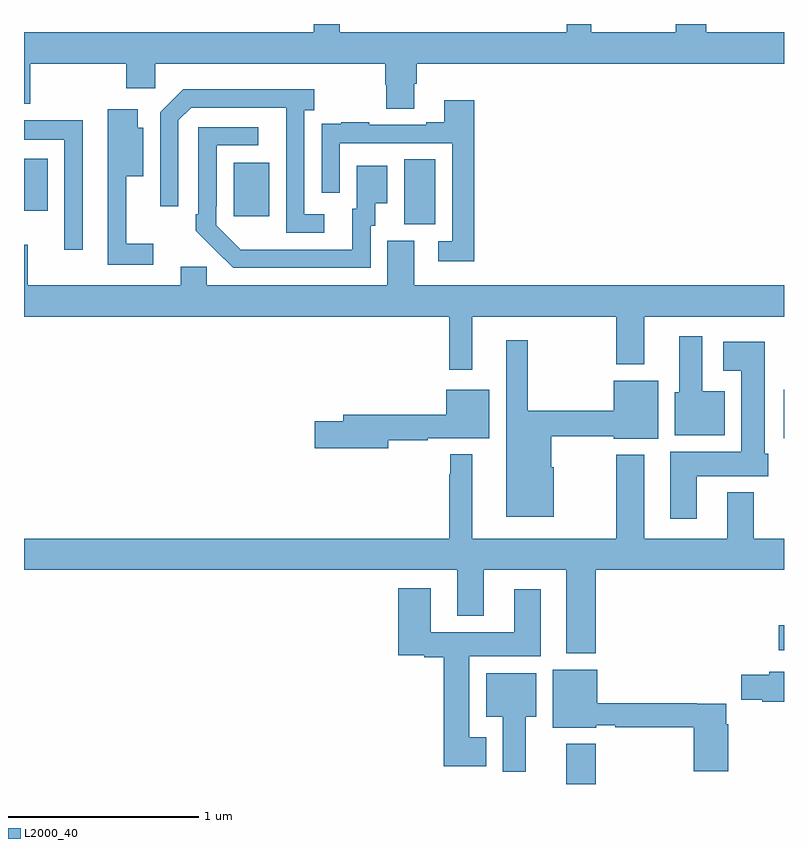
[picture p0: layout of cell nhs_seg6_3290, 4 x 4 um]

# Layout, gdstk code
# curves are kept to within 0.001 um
import gdstk
lib = gdstk.Library(unit=1e-6, precision=1e-09)
def R(c, l, rs):  # rectangles x0, y0, x1, y1
    for r in rs: c.add(gdstk.rectangle(r[:2], r[2:], *l))
def P(c, l, *ps):  # polygons
    for p in ps: c.add(gdstk.Polygon(p, *l))
L2000_40 = (2000, 40)

nhs_seg6_3290 = lib.new_cell('nhs_seg6_3290')
R(nhs_seg6_3290, L2000_40, [(305.855,987.5,306.008,987.712), (306.972,988.205,307,988.335), (306.998,989.321,307,989.575), (305,990.445,305.164,990.788), (304.103,990.489,304.291,990.769), (303,990.518,303.124,990.79)])
P(nhs_seg6_3290, L2000_40, [(305.053,991.186),(305.066,991.186),(305.066,991.292),(307,991.292),(307,991.456),(306.59,991.456),(306.59,991.5),(306.43,991.5),(306.43,991.456),(305.986,991.456),(305.986,991.5),(305.857,991.5),(305.857,991.456),(304.661,991.456),(304.661,991.5),(304.525,991.5),(304.525,991.456),(303,991.456),(303,991.079),(303.032,991.079),(303.032,991.292),(303.539,991.292),(303.539,991.161),(303.69,991.161),(303.69,991.292),(304.901,991.292),(304.901,991.179),(304.906,991.179),(304.906,991.054),(305.053,991.054)],
  [(304.579,990.498),(304.476,990.498),(304.476,991.046),(304.528,991.046),(304.528,991.156),(303.838,991.156),(303.717,991.035),(303.717,990.54),(303.813,990.54),(303.813,990.993),(303.879,991.059),(304.38,991.059),(304.38,990.402),(304.579,990.402)],
  [(305.369,991.099),(305.213,991.099),(305.213,990.982),(305.117,990.982),(305.117,990.969),(304.817,990.969),(304.817,990.982),(304.669,990.982),(304.669,990.975),(304.567,990.975),(304.567,990.866),(304.566,990.866),(304.566,990.612),(304.662,990.612),(304.662,990.873),(305.253,990.873),(305.253,990.357),(305.181,990.357),(305.181,990.252),(305.369,990.252)],
  [(303.679,990.343),(303.539,990.343),(303.539,990.698),(303.628,990.698),(303.628,990.955),(303.598,990.955),(303.598,991.051),(303.44,991.051),(303.44,990.234),(303.679,990.234)],
  [(303.31,990.994),(303,990.994),(303,990.89),(303.213,990.89),(303.213,990.312),(303.31,990.312)],
  [(304.824,990.438),(304.849,990.438),(304.849,990.557),(304.912,990.557),(304.912,990.754),(304.751,990.754),(304.751,990.528),(304.727,990.528),(304.727,990.312),(304.14,990.313),(304.011,990.441),(304.011,990.541),(304.014,990.541),(304.014,990.861),(304.234,990.861),(304.234,990.957),(303.918,990.957),(303.918,990.499),(303.903,990.499),(303.903,990.411),(304.1,990.216),(304.824,990.216)],
  [(305.359,989.96),(306.118,989.96),(306.118,989.708),(306.265,989.708),(306.265,989.96),(307,989.96),(307,990.124),(305.053,990.124),(305.053,990.36),(304.913,990.36),(304.913,990.124),(303.963,990.124),(303.963,990.222),(303.824,990.222),(303.824,990.124),(303.019,990.124),(303.019,990.337),(303,990.337),(303,989.96),(305.238,989.96),(305.238,989.679),(305.359,989.679)],
  [(306.688,989.566),(306.571,989.566),(306.571,989.857),(306.449,989.857),(306.449,989.562),(306.425,989.562),(306.425,989.336),(306.688,989.336)],
  [(305.788,989.166),(305.776,989.166),(305.776,989.329),(306.104,989.329),(306.104,989.318),(306.337,989.318),(306.337,989.623),(306.104,989.623),(306.104,989.465),(305.651,989.465),(305.651,989.836),(305.537,989.836),(305.537,988.907),(305.788,988.907)],
  [(306.541,989.12),(306.916,989.12),(306.916,989.238),(306.898,989.238),(306.898,989.827),(306.681,989.827),(306.681,989.675),(306.776,989.675),(306.776,989.248),(306.401,989.248),(306.401,988.896),(306.541,988.896)],
  [(304.918,989.308),(305.126,989.308),(305.126,989.321),(305.449,989.321),(305.449,989.575),(305.222,989.575),(305.222,989.444),(304.679,989.444),(304.679,989.408),(304.53,989.408),(304.53,989.266),(304.918,989.266)],
  [(306.008,988.628),(307,988.628),(307,988.792),(306.841,988.792),(306.841,989.035),(306.701,989.035),(306.701,988.792),(306.265,988.792),(306.265,989.233),(306.118,989.233),(306.118,988.792),(305.359,988.792),(305.359,989.236),(305.244,989.236),(305.244,989.129),(305.238,989.129),(305.238,988.792),(303,988.792),(303,988.628),(305.279,988.628),(305.279,988.385),(305.419,988.385),(305.419,988.628),(305.855,988.628),(305.855,988.187),(306.008,988.187)],
  [(305.434,987.745),(305.344,987.745),(305.344,988.172),(305.719,988.172),(305.719,988.525),(305.579,988.525),(305.579,988.3),(305.14,988.3),(305.14,988.531),(304.97,988.531),(304.97,988.178),(305.106,988.178),(305.106,988.166),(305.21,988.166),(305.21,987.593),(305.434,987.593)],
  [(306.707,987.815),(306.695,987.815),(306.695,987.923),(306.54,987.923),(306.54,987.926),(306.016,987.926),(306.016,988.102),(305.783,988.102),(305.783,987.797),(306.012,987.797),(306.012,987.81),(306.112,987.81),(306.112,987.798),(306.524,987.798),(306.524,987.567),(306.707,987.567)],
  [(307,988.092),(306.923,988.092),(306.923,988.076),(306.774,988.076),(306.774,987.943),(306.886,987.943),(306.886,987.934),(307,987.934)],
  [(305.641,987.854),(305.695,987.854),(305.695,988.084),(305.432,988.084),(305.432,987.854),(305.519,987.854),(305.519,987.564),(305.641,987.564)])

lib.write_gds('nhs_seg6_3290.gds')
